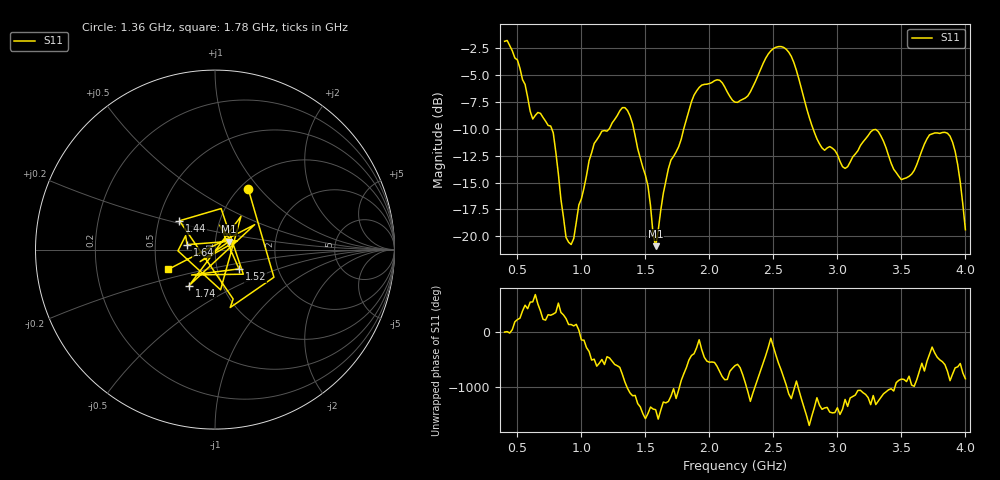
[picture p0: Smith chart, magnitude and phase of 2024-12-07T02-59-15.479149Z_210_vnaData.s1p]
!Created with skrf (http://scikit-rf.org).
# Hz S RI R 50.0
!freq ReS11 ImS11
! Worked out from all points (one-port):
!   181 points, 400 MHz to 4 GHz, reference 50 ohm
!   lowest |S11| = -20.9 dB at 1.58 GHz (marker M1), VSWR 1.20, Z = 58.2 + j5.28 ohm
!   |S11| at or under -10 dB: 768 MHz to 1.218 GHz (450 MHz wide, 45.3 % of centre); 1.408 GHz to 1.8 GHz (391.5 MHz wide, 24.4 % of centre); 2.81 GHz to end of sweep
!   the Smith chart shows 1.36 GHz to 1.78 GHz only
!   S11 on the Smith chart (normalised r, x): 1.36 GHz: 1.10, +0.87; 1.44 GHz: 0.64, +0.22; 1.52 GHz: 1.27, -0.28; 1.64 GHz: 0.73, +0.04; 1.74 GHz: 0.70, -0.30; 1.78 GHz: 0.57, -0.14
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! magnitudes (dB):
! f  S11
! 400 MHz  -1.9
! 500 MHz  -3.6
! 620 MHz  -9.1
! 780 MHz  -10.4
! 860 MHz  -18.2
! 920 MHz  -20.8
! 1.1 GHz  -11.4
! 1.3 GHz  -8.3
! 1.36 GHz  -8.3
! 1.44 GHz  -11.9
! 1.52 GHz  -15.3
! 1.58 GHz  -20.9
! 1.64 GHz  -16.0
! 1.74 GHz  -12.2
! 1.76 GHz  -11.7
! 1.78 GHz  -11.0
! 1.94 GHz  -5.9
! 2.2 GHz  -7.5
! 2.5 GHz  -2.5
! 2.66 GHz  -3.9
! 2.86 GHz  -11.4
! 3.1 GHz  -13.1
! 3.3 GHz  -10.1
! 3.56 GHz  -14.4
! 3.72 GHz  -10.6
! 3.86 GHz  -10.4
! 3.94 GHz  -13.4
! 4 GHz  -19.4
